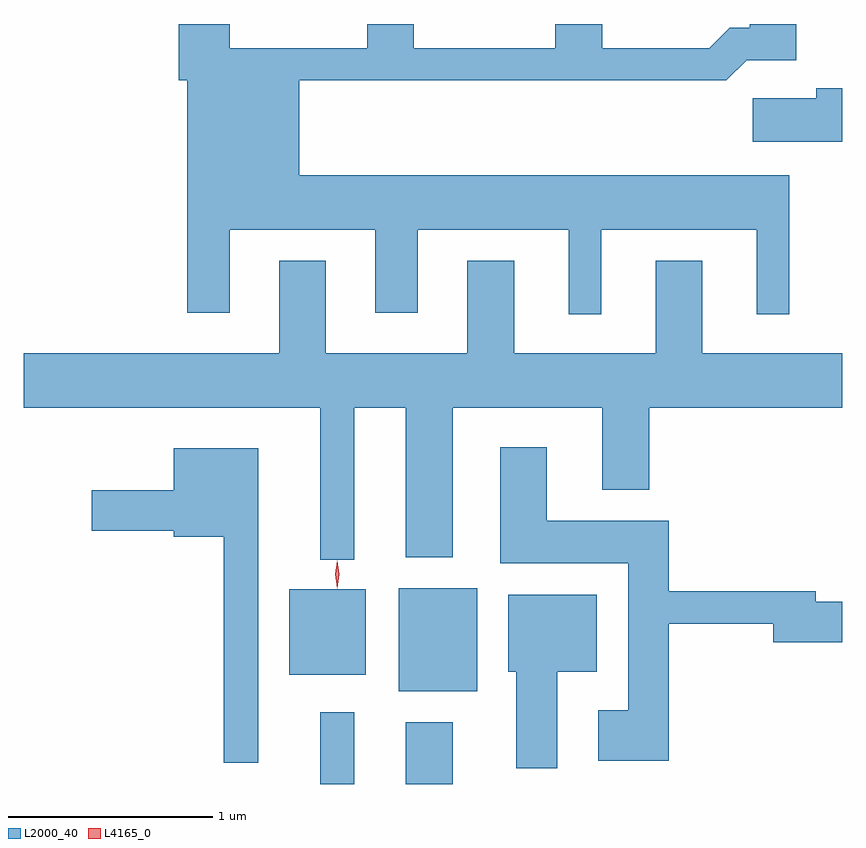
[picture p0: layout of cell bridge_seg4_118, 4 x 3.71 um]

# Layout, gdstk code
import gdstk
lib = gdstk.Library(unit=1e-6, precision=1e-09)
def R(c, l, rs):  # rectangles x0, y0, x1, y1
    for r in rs: c.add(gdstk.rectangle(r[:2], r[2:], *l))
def P(c, l, *ps):  # polygons
    for p in ps: c.add(gdstk.Polygon(p, *l))
L2000_40 = (2000, 40)
L4165_0 = (4165, 0)

bridge_seg4_118 = lib.new_cell('bridge_seg4_118')
R(bridge_seg4_118, L2000_40, [(810.601,1388.358,810.769,1388.708), (811.021,1388.358,811.249,1388.659), (810.986,1388.811,811.369,1389.314), (810.451,1388.891,810.824,1389.309)])
P(bridge_seg4_118, L2000_40, [(811.974,1391.066),(812.736,1391.066),(812.736,1390.653),(812.894,1390.653),(812.894,1391.334),(810.499,1391.334),(810.499,1391.796),(812.587,1391.796),(812.687,1391.896),(812.929,1391.896),(812.929,1392.072),(812.701,1392.072),(812.701,1392.054),(812.604,1392.054),(812.504,1391.954),(811.979,1391.954),(811.979,1392.072),(811.751,1392.072),(811.751,1391.954),(811.059,1391.954),(811.059,1392.072),(810.831,1392.072),(810.831,1391.954),(810.159,1391.954),(810.159,1392.072),(809.911,1392.072),(809.911,1391.796),(809.951,1391.796),(809.951,1390.661),(810.159,1390.661),(810.159,1391.066),(810.871,1391.066),(810.871,1390.661),(811.079,1390.661),(811.079,1391.066),(811.816,1391.066),(811.816,1390.653),(811.974,1390.653)],
  [(813.153,1391.759),(813.026,1391.759),(813.026,1391.709),(812.716,1391.709),(812.716,1391.496),(813.153,1391.496)],
  [(810.769,1390.196),(811.021,1390.196),(811.021,1389.466),(811.249,1389.466),(811.249,1390.196),(811.981,1390.196),(811.981,1389.796),(812.209,1389.796),(812.209,1390.196),(813.153,1390.196),(813.153,1390.464),(812.469,1390.464),(812.469,1390.914),(812.241,1390.914),(812.241,1390.464),(811.549,1390.464),(811.549,1390.914),(811.321,1390.914),(811.321,1390.464),(810.629,1390.464),(810.629,1390.914),(810.401,1390.914),(810.401,1390.464),(809.153,1390.464),(809.153,1390.196),(810.601,1390.196),(810.601,1389.453),(810.769,1389.453)],
  [(812.304,1389.141),(812.816,1389.141),(812.816,1389.051),(813.153,1389.051),(813.153,1389.249),(813.024,1389.249),(813.024,1389.299),(812.304,1389.299),(812.304,1389.644),(811.709,1389.644),(811.709,1390.004),(811.481,1390.004),(811.481,1389.436),(812.106,1389.436),(812.106,1388.719),(811.961,1388.719),(811.961,1388.471),(812.304,1388.471)],
  [(810.299,1389.999),(809.886,1389.999),(809.886,1389.794),(809.486,1389.794),(809.486,1389.596),(809.886,1389.596),(809.886,1389.566),(810.131,1389.566),(810.131,1388.463),(810.299,1388.463)],
  [(811.759,1388.906),(811.954,1388.906),(811.954,1389.284),(811.521,1389.284),(811.521,1388.906),(811.561,1388.906),(811.561,1388.436),(811.759,1388.436)])
P(bridge_seg4_118, L4165_0, [(810.686,1389.314),(810.686,1389.314),(810.676,1389.382),(810.684,1389.45),(810.685,1389.45),(810.686,1389.45),(810.696,1389.382),(810.686,1389.314)],
  [(810.686,1389.318),(810.685,1389.319),(810.676,1389.383),(810.684,1389.447),(810.685,1389.447),(810.686,1389.447),(810.695,1389.383),(810.686,1389.319)])

lib.write_gds('bridge_seg4_118.gds')
